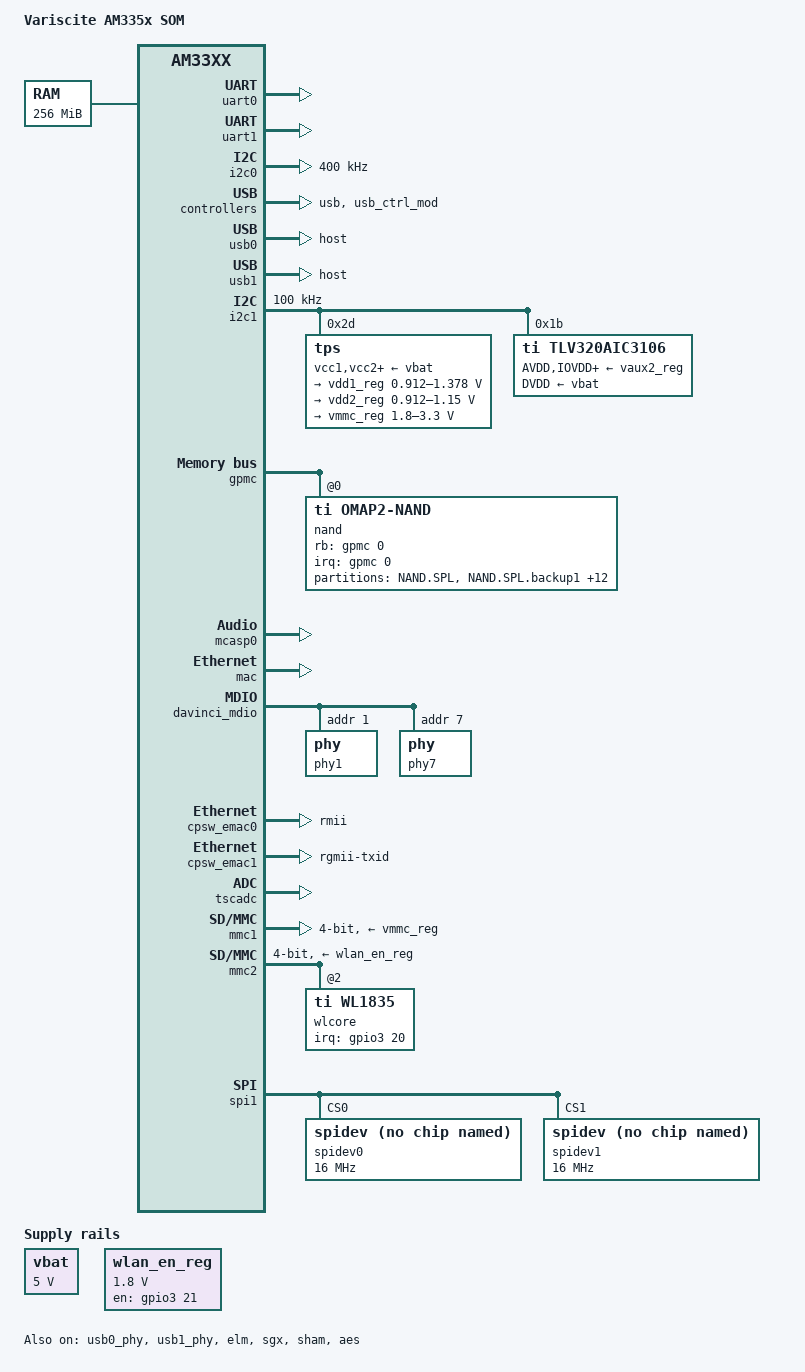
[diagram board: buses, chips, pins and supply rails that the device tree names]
/*
 * Copyright (C) 2014 Variscite LTD - http://www.variscite.com/
 *
 * This program is free software; you can redistribute it and/or modify
 * it under the terms of the GNU General Public License version 2 as
 * published by the Free Software Foundation.
 */
/dts-v1/;

#include "am33xx.dtsi"
#include <dt-bindings/interrupt-controller/irq.h>

/ {
	model = "Variscite AM335x SOM";
	compatible = "ti,var-som-am33", "ti,am33xx";

	cpus {
		cpu@0 {
			cpu0-supply = <&vdd1_reg>;
		};
	};

	memory {
		device_type = "memory";
		reg = <0x80000000 0x10000000>; /* 256 MB */
	};
	
	vbat: fixedregulator@0 {
		compatible = "regulator-fixed";
		regulator-name = "vbat";
		regulator-min-microvolt = <5000000>;
		regulator-max-microvolt = <5000000>;
		regulator-boot-on;
	};

	wlan_en_reg: fixedregulator@1 {
		compatible = "regulator-fixed";
		regulator-name = "wlan-en-regulator";
		regulator-min-microvolt = <1800000>;
		regulator-max-microvolt = <1800000>;
		gpio = <&gpio3 21 GPIO_ACTIVE_HIGH>;
		enable-active-high;
	};

#if 0
	vmmc_fixed: fixedregulator@2 {
		compatible = "regulator-fixed";
		regulator-name = "vmmc_fixed";
		regulator-min-microvolt = <3300000>;
		regulator-max-microvolt = <3300000>;
		regulator-always-on;
		regulator-boot-on;
	};

	gpio_buttons: gpio_buttons@0 {
		compatible = "gpio-keys";
		#address-cells = <1>;
		#size-cells = <0>;

		switch@1 {
			label = "button0";
			linux,code = <0x100>;
			gpios = <&gpio3 4 GPIO_ACTIVE_LOW>;
			gpio-key,wakeup;
		};
	};

	backlight {
		compatible = "pwm-backlight";
		pwms = <&ehrpwm0 0 50000 0>;
		brightness-levels = <0 58 61 66 75 90 125 170 255>;
		default-brightness-level = <8>;
	};
#endif
	
	sound {
		compatible = "simple-audio-card";
		simple-audio-card,name = "VAR-SOM-AM33";
		simple-audio-card,widgets =
			"Headphone", "Headphone Jack",
			"Line", "Line In";
		simple-audio-card,routing =
			"Headphone Jack",	"HPLOUT",
			"Headphone Jack",	"HPROUT",
			"LINE1L",		"Line In",
			"LINE1R",		"Line In";
		simple-audio-card,format = "dsp_b";
		simple-audio-card,bitclock-master = <&sound_master>;
		simple-audio-card,frame-master = <&sound_master>;
		simple-audio-card,bitclock-inversion;

		simple-audio-card,cpu {
			sound-dai = <&mcasp0>;
		};

		sound_master: simple-audio-card,codec {
			sound-dai = <&tlv320aic3106>;
			system-clock-frequency = <24000000>;
		};
	};

#if 0
	panel {
		compatible = "ti,tilcdc,panel";
		status = "okay";
		pinctrl-names = "default";
		pinctrl-0 = <&lcd_pins>;
		panel-info {
			ac-bias           = <255>;
			ac-bias-intrpt    = <0>;
			dma-burst-sz      = <16>;
			bpp               = <32>;
			fdd               = <0x80>;
			sync-edge         = <0>;
			sync-ctrl         = <1>;
			raster-order      = <0>;
			fifo-th           = <0>;
		};

		display-timings {
			800x480p62 {
				clock-frequency = <30000000>;
				hactive = <800>;
				vactive = <480>;
				hfront-porch = <39>;
				hback-porch = <39>;
				hsync-len = <47>;
				vback-porch = <29>;
				vfront-porch = <13>;
				vsync-len = <2>;
				hsync-active = <1>;
				vsync-active = <1>;
			};
		};
	};

	kim {
		compatible = "kim";
 		nshutdown_gpio = <105>; /* Bank3, pin9 */
 		dev_name = "/dev/ttyS1";
 		flow_cntrl = <1>;
 		baud_rate = <3000000>;
 	};
 	
 	btwilink {
		compatible = "btwilink";
	};
#endif
};
	
&am33xx_pinmux {
		pinctrl-names = "default";
		pinctrl-0 = <&clkout1_pin &gpio0_pins &gpio1_pins &gpio2_pins &gpio3_pins>;

		i2c0_pins: pinmux_i2c0_pins {
			pinctrl-single,pins = <
				0x188 (PIN_INPUT_PULLUP | MUX_MODE0)	/* i2c0_sda.i2c0_sda */
				0x18c (PIN_INPUT_PULLUP | MUX_MODE0)	/* i2c0_scl.i2c0_scl */
			>;
		};

		i2c1_pins: pinmux_i2c1_pins {
			pinctrl-single,pins = <
				0x158 (PIN_INPUT_PULLUP | MUX_MODE2)	/* spi0_d1.i2c1_sda */
				0x15c (PIN_INPUT_PULLUP | MUX_MODE2)	/* spi0_cs0.i2c1_scl */
			>;
		};

		uart0_pins_default: pinmux_uart0_pins_default {
			pinctrl-single,pins = <
				0x170 (PIN_INPUT_PULLUP | MUX_MODE0)	/* uart0_rxd.uart0_rxd */
				0x174 (PIN_OUTPUT_PULLDOWN | MUX_MODE0)	/* uart0_txd.uart0_txd */
			>;
		};

		uart1_pins_default: pinmux_uart1_pins_default {
			pinctrl-single,pins = <
				0x178 (PIN_INPUT | MUX_MODE0)		/* uart1_ctsn.uart1_ctsn */
				0x17C (PIN_OUTPUT_PULLDOWN | MUX_MODE0)	/* uart1_rtsn.uart1_rtsn */
				0x180 (PIN_INPUT_PULLUP | MUX_MODE0)	/* uart1_rxd.uart1_rxd */
				0x184 (PIN_OUTPUT | MUX_MODE0)		/* uart1_txd.uart1_txd */
			>;
		};

		clkout1_pin: pinmux_clkout1_pin {
			pinctrl-single,pins = <
				0x1b0 (PIN_OUTPUT_PULLDOWN | MUX_MODE3)	/* xdma_event_intr0.clkout1 */
			>;
		};

		nandflash_pins_default: nandflash_pins_default {
			pinctrl-single,pins = <
				0x0 (PIN_INPUT_PULLUP | MUX_MODE0)	/* gpmc_ad0.gpmc_ad0 */
				0x4 (PIN_INPUT_PULLUP | MUX_MODE0)	/* gpmc_ad1.gpmc_ad1 */
				0x8 (PIN_INPUT_PULLUP | MUX_MODE0)	/* gpmc_ad2.gpmc_ad2 */
				0xc (PIN_INPUT_PULLUP | MUX_MODE0)	/* gpmc_ad3.gpmc_ad3 */
				0x10 (PIN_INPUT_PULLUP | MUX_MODE0)	/* gpmc_ad4.gpmc_ad4 */
				0x14 (PIN_INPUT_PULLUP | MUX_MODE0)	/* gpmc_ad5.gpmc_ad5 */
				0x18 (PIN_INPUT_PULLUP | MUX_MODE0)	/* gpmc_ad6.gpmc_ad6 */
				0x1c (PIN_INPUT_PULLUP | MUX_MODE0)	/* gpmc_ad7.gpmc_ad7 */
				0x70 (PIN_INPUT_PULLUP | MUX_MODE0)	/* gpmc_wait0.gpmc_wait0 */
				0x74 (PIN_INPUT_PULLUP | MUX_MODE7)	/* gpmc_wpn.gpio0_30 */
				0x7c (PIN_OUTPUT | MUX_MODE0)		/* gpmc_csn0.gpmc_csn0  */
				0x90 (PIN_OUTPUT | MUX_MODE0)		/* gpmc_advn_ale.gpmc_advn_ale */
				0x94 (PIN_OUTPUT | MUX_MODE0)		/* gpmc_oen_ren.gpmc_oen_ren */
				0x98 (PIN_OUTPUT | MUX_MODE0)		/* gpmc_wen.gpmc_wen */
				0x9c (PIN_OUTPUT | MUX_MODE0)		/* gpmc_ben0_cle.gpmc_ben0_cle */

			>;
		};

		nandflash_pins_sleep: nandflash_pins_sleep {
			pinctrl-single,pins = <
				0x0 (PIN_INPUT_PULLDOWN | MUX_MODE7)
				0x4 (PIN_INPUT_PULLDOWN | MUX_MODE7)
				0x8 (PIN_INPUT_PULLDOWN | MUX_MODE7)
				0xc (PIN_INPUT_PULLDOWN | MUX_MODE7)
				0x10 (PIN_INPUT_PULLDOWN | MUX_MODE7)
				0x14 (PIN_INPUT_PULLDOWN | MUX_MODE7)
				0x18 (PIN_INPUT_PULLDOWN | MUX_MODE7)
				0x1c (PIN_INPUT_PULLDOWN | MUX_MODE7)
				0x70 (PIN_INPUT_PULLDOWN | MUX_MODE7)
				0x74 (PIN_INPUT_PULLDOWN | MUX_MODE7)
				0x7c (PIN_INPUT_PULLDOWN | MUX_MODE7)
				0x90 (PIN_INPUT_PULLDOWN | MUX_MODE7)
				0x94 (PIN_INPUT_PULLDOWN | MUX_MODE7)
				0x98 (PIN_INPUT_PULLDOWN | MUX_MODE7)
				0x9c (PIN_INPUT_PULLDOWN | MUX_MODE7)
			>;
		};

		cpsw_default: cpsw_default {
			pinctrl-single,pins = <
				/* Slave 1 */
				0x10c (PIN_INPUT_PULLDOWN | MUX_MODE1)     /* mii1_crs.rmii1_crs_dv */
				0x110 (PIN_INPUT_PULLDOWN | MUX_MODE1)     /* mii1_rxerr.rmii1_rxerr */
				0x114 (PIN_OUTPUT | MUX_MODE1)             /* mii1_txen.rmii1_txen */
				0x124 (PIN_OUTPUT | MUX_MODE1)             /* mii1_txd1.rmii1_txd1 */
				0x128 (PIN_OUTPUT | MUX_MODE1)             /* mii1_txd0.rmii1_txd0 */
				0x13c (PIN_INPUT_PULLDOWN | MUX_MODE1)     /* mii1_rxd1.rmii1_rxd1 */
				0x140 (PIN_INPUT_PULLDOWN | MUX_MODE1)     /* mii1_rxd0.rmii1_rxd0 */
				0x144 (PIN_INPUT_PULLDOWN | MUX_MODE0)     /* rmii1_refclk.rmii1_refclk */
				0x138 (PIN_INPUT_PULLUP | MUX_MODE7)       /* mii1_rxd2.gpio2_19 */

#if 0 
				/* Slave 2 */
				0x40 (PIN_OUTPUT | MUX_MODE2)	           /* gpmc_a0.rgmii2_tctl */
				0x44 (PIN_INPUT_PULLDOWN | MUX_MODE2)	   /* gpmc_a1.rgmii2_rctl */
				0x48 (PIN_OUTPUT | MUX_MODE2)	           /* gpmc_a2.rgmii2_td3 */
				0x4c (PIN_OUTPUT | MUX_MODE2)              /* gpmc_a3.rgmii2_td2 */
				0x50 (PIN_OUTPUT | MUX_MODE2)              /* gpmc_a4.rgmii2_td1 */
				0x54 (PIN_OUTPUT | MUX_MODE2)              /* gpmc_a5.rgmii2_td0 */
				0x58 (PIN_OUTPUT | MUX_MODE2)              /* gpmc_a6.rgmii2_tclk */
				0x5c (PIN_INPUT_PULLDOWN | MUX_MODE2)      /* gpmc_a7.rgmii2_rclk */
				0x60 (PIN_INPUT_PULLDOWN | MUX_MODE2)      /* gpmc_a8.rgmii2_rd3 */
				0x64 (PIN_INPUT_PULLDOWN | MUX_MODE2)      /* gpmc_a9.rgmii2_rd2 */
				0x68 (PIN_INPUT_PULLDOWN | MUX_MODE2)      /* gpmc_a10.rgmii2_rd1 */
				0x6c (PIN_INPUT_PULLDOWN | MUX_MODE2)      /* gpmc_a11.rgmii2_rd0 */
				0x108 (PIN_INPUT_PULLDOWN | MUX_MODE1)     /* mii1_col.rmii2_refclk */
				0x130 (PIN_INPUT_PULLUP | MUX_MODE7)       /* mii1_rxclk.gpio3_10 */
#endif
			>;
		};

		cpsw_sleep: cpsw_sleep {
			pinctrl-single,pins = <
				/* Slave 1 reset value */
				0x10c (PIN_INPUT_PULLDOWN | MUX_MODE7)
				0x110 (PIN_INPUT_PULLDOWN | MUX_MODE7)
				0x114 (PIN_INPUT_PULLDOWN | MUX_MODE7)
				0x124 (PIN_INPUT_PULLDOWN | MUX_MODE7)
				0x128 (PIN_INPUT_PULLDOWN | MUX_MODE7)
				0x13c (PIN_INPUT_PULLDOWN | MUX_MODE7)
				0x140 (PIN_INPUT_PULLDOWN | MUX_MODE7)
				0x144 (PIN_INPUT_PULLDOWN | MUX_MODE7)
				0x138 (PIN_INPUT_PULLUP | MUX_MODE7)       /* mii1_rxd2.gpio2_19 */

#if 0 
				/* Slave 2 reset value */
				0x40 (PIN_INPUT_PULLDOWN | MUX_MODE7) 
				0x44 (PIN_INPUT_PULLDOWN | MUX_MODE7)
				0x48 (PIN_INPUT_PULLDOWN | MUX_MODE7)
				0x4c (PIN_INPUT_PULLDOWN | MUX_MODE7)
				0x50 (PIN_INPUT_PULLDOWN | MUX_MODE7)
				0x54 (PIN_INPUT_PULLDOWN | MUX_MODE7)
				0x58 (PIN_INPUT_PULLDOWN | MUX_MODE7)
				0x5c (PIN_INPUT_PULLDOWN | MUX_MODE7)
				0x60 (PIN_INPUT_PULLDOWN | MUX_MODE7)
				0x64 (PIN_INPUT_PULLDOWN | MUX_MODE7)
				0x68 (PIN_INPUT_PULLDOWN | MUX_MODE7)
				0x6c (PIN_INPUT_PULLDOWN | MUX_MODE7)
#endif
			>;
		};

		davinci_mdio_default: davinci_mdio_default {
			pinctrl-single,pins = <
				/* MDIO */
				0x148 (PIN_INPUT_PULLUP | SLEWCTRL_FAST | MUX_MODE0)	/* mdio_data.mdio_data */
				0x14c (PIN_OUTPUT_PULLUP | MUX_MODE0)			/* mdio_clk.mdio_clk */
			>;
		};

		davinci_mdio_sleep: davinci_mdio_sleep {
			pinctrl-single,pins = <
				/* MDIO reset value */
				0x148 (PIN_INPUT_PULLDOWN | MUX_MODE7)
				0x14c (PIN_INPUT_PULLDOWN | MUX_MODE7)
			>;
		};

		mmc1_pins_default: pinmux_mmc1_pins {
			pinctrl-single,pins = <
				0x0F0 (PIN_INPUT_PULLUP | MUX_MODE0)	/* mmc0_dat3.mmc0_dat3 */
				0x0F4 (PIN_INPUT_PULLUP | MUX_MODE0)	/* mmc0_dat2.mmc0_dat2 */
				0x0F8 (PIN_INPUT_PULLUP | MUX_MODE0)	/* mmc0_dat1.mmc0_dat1 */
				0x0FC (PIN_INPUT_PULLUP | MUX_MODE0)	/* mmc0_dat0.mmc0_dat0 */
				0x100 (PIN_INPUT_PULLUP | MUX_MODE0)	/* mmc0_clk.mmc0_clk */
				0x104 (PIN_INPUT_PULLUP | MUX_MODE0)	/* mmc0_cmd.mmc0_cmd */
			>;
		};

		mmc1_pins_sleep: pinmux_mmc1_pins_sleep {
			pinctrl-single,pins = <
				0x0F0 (PIN_INPUT_PULLDOWN | MUX_MODE7)
				0x0F4 (PIN_INPUT_PULLDOWN | MUX_MODE7)
				0x0F8 (PIN_INPUT_PULLDOWN | MUX_MODE7)
				0x0FC (PIN_INPUT_PULLDOWN | MUX_MODE7)
				0x100 (PIN_INPUT_PULLDOWN | MUX_MODE7)
				0x104 (PIN_INPUT_PULLDOWN | MUX_MODE7)
			>;
		};


#if 0 
		lcd_pins_default: lcd_pins_default {
			pinctrl-single,pins = <
				0xa0 0x00	/* lcd_data0.lcd_data0, OUTPUT | MODE0 */
				0xa4 0x00	/* lcd_data1.lcd_data1, OUTPUT | MODE0 */
				0xa8 0x00	/* lcd_data2.lcd_data2, OUTPUT | MODE0 */
				0xac 0x00	/* lcd_data3.lcd_data3, OUTPUT | MODE0 */
				0xb0 0x00	/* lcd_data4.lcd_data4, OUTPUT | MODE0 */
				0xb4 0x00	/* lcd_data5.lcd_data5, OUTPUT | MODE0 */
				0xb8 0x00	/* lcd_data6.lcd_data6, OUTPUT | MODE0 */
				0xbc 0x00	/* lcd_data7.lcd_data7, OUTPUT | MODE0 */
				0xc0 0x00	/* lcd_data8.lcd_data8, OUTPUT | MODE0 */
				0xc4 0x00	/* lcd_data9.lcd_data9, OUTPUT | MODE0 */
				0xc8 0x00	/* lcd_data10.lcd_data10, OUTPUT | MODE0 */
				0xcc 0x00	/* lcd_data11.lcd_data11, OUTPUT | MODE0 */
				0xd0 0x00	/* lcd_data12.lcd_data12, OUTPUT | MODE0 */
				0xd4 0x00	/* lcd_data13.lcd_data13, OUTPUT | MODE0 */
				0xd8 0x00	/* lcd_data14.lcd_data14, OUTPUT | MODE0 */
				0xdc 0x00	/* lcd_data15.lcd_data15, OUTPUT | MODE0 */
				0xe0 0x00	/* lcd_vsync.lcd_vsync, OUTPUT | MODE0 */
				0xe4 0x00	/* lcd_hsync.lcd_hsync, OUTPUT | MODE0 */
				0xe8 0x00	/* lcd_pclk.lcd_pclk, OUTPUT | MODE0 */
				0xec 0x00	/* lcd_ac_bias_en.lcd_ac_bias_en, OUTPUT | MODE0 */
			>;
		};

		lcd_pins_sleep: lcd_pins_sleep {
			pinctrl-single,pins = <
				0xa0 (PULL_DISABLE | MUX_MODE7)		/* lcd_data0.lcd_data0 */
				0xa4 (PULL_DISABLE | MUX_MODE7)		/* lcd_data1.lcd_data1 */
				0xa8 (PULL_DISABLE | MUX_MODE7)		/* lcd_data2.lcd_data2 */
				0xac (PULL_DISABLE | MUX_MODE7)		/* lcd_data3.lcd_data3 */
				0xb0 (PULL_DISABLE | MUX_MODE7)		/* lcd_data4.lcd_data4 */
				0xb4 (PULL_DISABLE | MUX_MODE7)		/* lcd_data5.lcd_data5 */
				0xb8 (PULL_DISABLE | MUX_MODE7)		/* lcd_data6.lcd_data6 */
				0xbc (PULL_DISABLE | MUX_MODE7)		/* lcd_data7.lcd_data7 */
				0xc0 (PULL_DISABLE | MUX_MODE7)		/* lcd_data8.lcd_data8 */
				0xc4 (PULL_DISABLE | MUX_MODE7)		/* lcd_data9.lcd_data9 */
				0xc8 (PULL_DISABLE | MUX_MODE7)		/* lcd_data10.lcd_data10 */
				0xcc (PULL_DISABLE | MUX_MODE7)		/* lcd_data11.lcd_data11 */
				0xd0 (PULL_DISABLE | MUX_MODE7)		/* lcd_data12.lcd_data12 */
				0xd4 (PULL_DISABLE | MUX_MODE7)		/* lcd_data13.lcd_data13 */
				0xd8 (PULL_DISABLE | MUX_MODE7)		/* lcd_data14.lcd_data14 */
				0xdc (PULL_DISABLE | MUX_MODE7)		/* lcd_data15.lcd_data15 */
				0xe0 (PIN_INPUT_PULLDOWN | MUX_MODE7)	/* lcd_vsync.lcd_vsync, OUTPUT | MODE0 */
				0xe4 (PIN_INPUT_PULLDOWN | MUX_MODE7)	/* lcd_hsync.lcd_hsync */
				0xe8 (PIN_INPUT_PULLDOWN | MUX_MODE7)	/* lcd_pclk.lcd_pclk */
				0xec (PIN_INPUT_PULLDOWN | MUX_MODE7)	/* lcd_ac_bias_en.lcd_ac_bias_en */
			>;
		};
#endif

		mcasp0_pins: mcasp0_pins {
			pinctrl-single,pins = <
				0x190 (PIN_INPUT_PULLDOWN | MUX_MODE0)  /* mcasp0_aclkx.mcasp0_aclkx */
				0x194 (PIN_INPUT_PULLDOWN | MUX_MODE0)  /* mcasp0_fsx.mcasp0_fsx */
				0x1A0 (PIN_INPUT_PULLDOWN | MUX_MODE2)  /* mcasp0_aclkr.mcasp0_axr2 */
				0x1A4 (PIN_INPUT_PULLDOWN | MUX_MODE2)  /* mcasp0_fsr.mcasp0_axr3 */
			>;
		};

		mcasp0_sleep_pins: mcasp0_sleep_pins {
			pinctrl-single,pins = <
				0x190 (PIN_INPUT_PULLDOWN | MUX_MODE7)
				0x194 (PIN_INPUT_PULLDOWN | MUX_MODE7)
				0x1A0 (PIN_INPUT_PULLDOWN | MUX_MODE7)
				0x1A4 (PIN_INPUT_PULLDOWN | MUX_MODE7)
			>;
		};

		/* wl12xx/wl18xx card on mmc2 */
		mmc2_pins_default: pinmux_mmc2_pins_default {
			pinctrl-single,pins = <
				0x20 (PIN_INPUT_PULLUP | MUX_MODE2)	/* gpmc_ad8.mmc1_dat0 */
				0x24 (PIN_INPUT_PULLUP | MUX_MODE2)	/* gpmc_ad9.mmc1_dat1 */
				0x28 (PIN_INPUT_PULLUP | MUX_MODE2)	/* gpmc_ad10.mmc1_dat2 */
				0x2c (PIN_INPUT_PULLUP | MUX_MODE2)	/* gpmc_ad11.mmc1_dat3 */
				0x84 (PIN_INPUT_PULLUP | MUX_MODE2)	/* gpmc_csn2.mmc1_cmd */
				0x80 (PIN_INPUT_PULLUP | MUX_MODE2)	/* gpmc_csn1.mmc1_clk */
			>;
		};

		/* wl12xx/wl18xx card on mmc2 */
		mmc2_pins_sleep: pinmux_mmc2_pins_sleep {
			pinctrl-single,pins = <
				0x20 (PIN_INPUT_PULLUP | MUX_MODE7)	/* gpmc_ad8.mmc1_dat0 */
				0x24 (PIN_INPUT_PULLUP | MUX_MODE7)	/* gpmc_ad9.mmc1_dat1 */
				0x28 (PIN_INPUT_PULLUP | MUX_MODE7)	/* gpmc_ad10.mmc1_dat2 */
				0x2c (PIN_INPUT_PULLUP | MUX_MODE7)	/* gpmc_ad11.mmc1_dat3 */
				0x84 (PIN_INPUT_PULLUP | MUX_MODE7)	/* gpmc_csn2.mmc1_cmd */
				0x80 (PIN_INPUT_PULLUP | MUX_MODE7)	/* gpmc_csn1.mmc1_clk */
			>;
		};

		/* wl12xx/wl18xx card enable/irq GPIOs. */
		wlan_pins_default: pinmux_wlan_pins_default {
			pinctrl-single,pins = <
				0x1AC (PIN_OUTPUT_PULLUP | MUX_MODE7)	/* mcasp0_ahclkx.gpio3_21, WL_EN */
				0x1A8 (PIN_INPUT_PULLUP  | MUX_MODE7)	/* mcasp0_axr1.gpio3_20, WL_IRQ */
				0x12C (PIN_OUTPUT_PULLDOWN | MUX_MODE7)	/* mii1_txclk.gpio3_9, BT_EN */
			>;
		};

		wlan_pins_sleep: pinmux_wlan_pins_sleep {
			pinctrl-single,pins = <
				0x1AC (PIN_OUTPUT_PULLUP | MUX_MODE7)   /* mcasp0_ahclkx.gpio3_21, WL_EN */
				0x1A8 (PIN_INPUT_PULLUP  | MUX_MODE7)   /* mcasp0_axr1.gpio3_20, WL_IRQ */
				0x12C (PIN_OUTPUT_PULLUP | MUX_MODE7)   /* mii1_txclk.gpio3_9, BT_EN */
			>;
		};

#if 0
		/* ft5x06 irq GPIO. */
		edt_ft5x06_pins: pinmux_edt_ft5x06_pins {
			pinctrl-single,pins = <
				0x154 0x27	/* spi0_d0.gpio0_3, INPUT | MODE7 */
			>;
		};

		dcan0_default: dcan0_default_pins {
			pinctrl-single,pins = <
				0x11c (PIN_OUTPUT_PULLDOWN | MUX_MODE1)	 /* AM33XX_CONTROL_PADCONF_MII1_TXD3_OFFSET			0x091C */
				0x120 (PIN_INPUT_PULLUP | MUX_MODE1)     /* AM33XX_CONTROL_PADCONF_MII1_TXD2_OFFSET			0x0920 */
			>;
		};
#endif

		gpio0_pins: gpio0_pins_default {
			pinctrl-single,pins = <
				0x160 ( PIN_INPUT | MUX_MODE7 ) /* (C15) spi0_cs1.gpio0[6] */
				0x164 ( PIN_INPUT | MUX_MODE7 ) /* (C18) eCAP0_in_PWM0_out.gpio0[7] */
				0xd0  ( PIN_INPUT | MUX_MODE7 ) /* (V2) lcd_data12.gpio0[8] */
				0xd4  ( PIN_INPUT | MUX_MODE7 ) /* (V3) lcd_data13.gpio0[9] */
				0xd8  ( PIN_INPUT | MUX_MODE7 ) /* (V4) lcd_data14.gpio0[10] */
				0xdc  ( PIN_INPUT | MUX_MODE7 ) /* (T5) lcd_data15.gpio0[11] */
				0x11c ( PIN_INPUT | MUX_MODE7 ) /* (J18) gmii1_txd3.gpio0[16] */
				0x120 ( PIN_INPUT | MUX_MODE7 ) /* (K15) gmii1_txd2.gpio0[17] */
			>;
		};

		gpio1_pins: gpio1_pins_default {
			pinctrl-single,pins = <
				0x30 ( PIN_INPUT | MUX_MODE7 ) /* (T12) gpmc_ad12.gpio1[12] */
				0x34 ( PIN_INPUT | MUX_MODE7 ) /* (R12) gpmc_ad13.gpio1[13] */
				0x38 ( PIN_INPUT | MUX_MODE7 ) /* (V13) gpmc_ad14.gpio1[14] */
				0x3c ( PIN_INPUT | MUX_MODE7 ) /* (U13) gpmc_ad15.gpio1[15] */
				0x40 ( PIN_INPUT | MUX_MODE7 ) /* (R13) gpmc_a0.gpio1[16] */
				0x44 ( PIN_INPUT | MUX_MODE7 ) /* (V14) gpmc_a1.gpio1[17] */
				0x48 ( PIN_INPUT | MUX_MODE7 ) /* (U14) gpmc_a2.gpio1[18] */
				0x4c ( PIN_INPUT | MUX_MODE7 ) /* (T14) gpmc_a3.gpio1[19] */
				0x50 ( PIN_INPUT | MUX_MODE7 ) /* (R14) gpmc_a4.gpio1[20] */
				0x54 ( PIN_INPUT | MUX_MODE7 ) /* (V15) gpmc_a5.gpio1[21] */
				0x58 ( PIN_INPUT | MUX_MODE7 ) /* (U15) gpmc_a6.gpio1[22] */
				0x5c ( PIN_INPUT | MUX_MODE7 ) /* (T15) gpmc_a7.gpio1[23] */
				0x60 ( PIN_INPUT | MUX_MODE7 ) /* (V16) gpmc_a8.gpio1[24] */
				0x64 ( PIN_INPUT | MUX_MODE7 ) /* (U16) gpmc_a9.gpio1[25] */
				0x68 ( PIN_INPUT | MUX_MODE7 ) /* (T16) gpmc_a10.gpio1[26] */
				0x6c ( PIN_INPUT | MUX_MODE7 ) /* (V17) gpmc_a11.gpio1[27] */
				0x78 ( PIN_INPUT | MUX_MODE7 ) /* (U18) gpmc_be1n.gpio1[28] */
			>;
		};

		gpio2_pins: gpio2_pins_default {
			pinctrl-single,pins = <
				0x88 ( PIN_INPUT | MUX_MODE7 ) /* (T13) gpmc_csn3.gpio2[0] */
				0x8c ( PIN_INPUT | MUX_MODE7 ) /* (V12) gpmc_clk.gpio2[1] */
				0xa0 ( PIN_INPUT | MUX_MODE7 ) /* (R1) lcd_data0.gpio2[6] */
				0xa4 ( PIN_INPUT | MUX_MODE7 ) /* (R2) lcd_data1.gpio2[7] */
				0xa8 ( PIN_INPUT | MUX_MODE7 ) /* (R3) lcd_data2.gpio2[8] */
				0xac ( PIN_INPUT | MUX_MODE7 ) /* (R4) lcd_data3.gpio2[9] */
				0xb0 ( PIN_INPUT | MUX_MODE7 ) /* (T1) lcd_data4.gpio2[10] */
				0xb4 ( PIN_INPUT | MUX_MODE7 ) /* (T2) lcd_data5.gpio2[11] */
				0xb8 ( PIN_INPUT | MUX_MODE7 ) /* (T3) lcd_data6.gpio2[12] */
				0xbc ( PIN_INPUT | MUX_MODE7 ) /* (T4) lcd_data7.gpio2[13] */
				0xc0 ( PIN_INPUT | MUX_MODE7 ) /* (U1) lcd_data8.gpio2[14] */
				0xc4 ( PIN_INPUT | MUX_MODE7 ) /* (U2) lcd_data9.gpio2[15] */
				0xc8 ( PIN_INPUT | MUX_MODE7 ) /* (U3) lcd_data10.gpio2[16] */
				0xcc ( PIN_INPUT | MUX_MODE7 ) /* (U4) lcd_data11.gpio2[17] */
				0x134 ( PIN_INPUT | MUX_MODE7 ) /* (L17) gmii1_rxd3.gpio2[18] */
				0xe0 ( PIN_INPUT | MUX_MODE7 ) /* (U5) lcd_vsync.gpio2[22] */
				0xe4 ( PIN_INPUT | MUX_MODE7 ) /* (R5) lcd_hsync.gpio2[23] */
				0xe8 ( PIN_INPUT | MUX_MODE7 ) /* (V5) lcd_pclk.gpio2[24] */
				0xec ( PIN_INPUT | MUX_MODE7 ) /* (R6) lcd_ac_bias_en.gpio2[25] */
			>;
		};

		gpio3_pins: gpio3_pins_default {
			pinctrl-single,pins = <
				0x1e4 ( PIN_INPUT | MUX_MODE7 ) /* (C14) EMU0.gpio3[7] */
				0x1e8 ( PIN_INPUT | MUX_MODE7 ) /* (B14) EMU1.gpio3[8] */
			>;
		};
};

&uart0 {
	pinctrl-names = "default";
	pinctrl-0 = <&uart0_pins_default>;

	status = "okay";
};

&uart1 {
	pinctrl-names = "default";
	pinctrl-0 = <&uart1_pins_default>;

	status = "okay";
};

&i2c0 {
	pinctrl-names = "default";
	pinctrl-0 = <&i2c0_pins>;

	status = "okay";
	clock-frequency = <400000>;
	/* Set OPP50 (0.95V) for VDD core */
	sleep-sequence = /bits/ 8 <
		0x02 0x2d 0x25 0x1f /* Set VDD2 to 0.95V */
	>;

	/* Set OPP100 (1.10V) for VDD core */
	wake-sequence = /bits/ 8 <
		0x02 0x2d 0x25 0x2b /* Set VDD2 to 1.1V */
	>;
};

&usb {
	status = "okay";
};

&usb_ctrl_mod {
	status = "okay";
};

&usb0_phy {
	status = "okay";
};

&usb1_phy {
	status = "okay";
};

&usb0 {
	status = "okay";
	dr_mode = "host";
};

&usb1 {
	status = "okay";
	dr_mode = "host";
};

&cppi41dma  {
	status = "okay";
};

&i2c1 {
	pinctrl-names = "default";
	pinctrl-0 = <&i2c1_pins>;

	status = "okay";
	clock-frequency = <100000>;

	tps: tps@2d {
		reg = <0x2d>;
	};

	tlv320aic3106: tlv320aic3106@1b {
		#sound-dai-cells = <0>;
		compatible = "ti,tlv320aic3106";
		reg = <0x1b>;
		status = "okay";

		/* Regulators */
		AVDD-supply = <&vaux2_reg>;
		IOVDD-supply = <&vaux2_reg>;
		DRVDD-supply = <&vaux2_reg>;
		DVDD-supply = <&vbat>;
	};
#if 0
	edt_ft5x06_ts@38 {
		status = "okay";
		compatible = "edt,edt-ft5206";
		pinctrl-names = "default";
		pinctrl-0 = <&edt_ft5x06_pins>;
		reg = <0x38>;
		interrupt-parent = <&gpio0>;
		interrupts = <3 IRQ_TYPE_NONE>;
	};
#endif
};

&elm {
	status = "okay";
};

#if 0
&epwmss0 {
	status = "okay";

	ehrpwm0: pwm@48300200 {
		status = "okay";
		pinctrl-names = "default";
		pinctrl-0 = <&ehrpwm_pins>;
	};
};
#endif

&gpmc {
	status = "okay";
	pinctrl-names = "default", "sleep";
	pinctrl-0 = <&nandflash_pins_default>;
	pinctrl-1 = <&nandflash_pins_sleep>;
	ranges = <0 0 0x08000000 0x10000000>;	/* CS0: NAND */
	nand@0,0 {
		compatible = "ti,omap2-nand";
		reg = <0 0 4>; /* CS0, offset 0, IO size 4 */
		interrupt-parent = <&gpmc>;
		interrupts = <0 IRQ_TYPE_NONE>, /* fifoevent */
			     <1 IRQ_TYPE_NONE>;	/* termcount */
		rb-gpios = <&gpmc 0 GPIO_ACTIVE_HIGH>; /* gpmc_wait0 */
		ti,nand-ecc-opt= "bch8";
		ti,elm-id = <&elm>;
		nand-bus-width = <8>;
		gpmc,device-width = <1>;
		gpmc,sync-clk-ps = <0>;
		gpmc,cs-on-ns = <0>;
		gpmc,cs-rd-off-ns = <44>;
		gpmc,cs-wr-off-ns = <44>;
		gpmc,adv-on-ns = <6>;
		gpmc,adv-rd-off-ns = <34>;
		gpmc,adv-wr-off-ns = <44>;
		gpmc,we-on-ns = <0>;
		gpmc,we-off-ns = <40>;
		gpmc,oe-on-ns = <0>;
		gpmc,oe-off-ns = <54>;
		gpmc,access-ns = <64>;
		gpmc,rd-cycle-ns = <82>;
		gpmc,wr-cycle-ns = <82>;
		gpmc,wait-on-read = "true";
		gpmc,wait-on-write = "true";
		gpmc,bus-turnaround-ns = <0>;
		gpmc,cycle2cycle-delay-ns = <0>;
		gpmc,clk-activation-ns = <0>;
		gpmc,wait-monitoring-ns = <0>;
		gpmc,wr-access-ns = <40>;
		gpmc,wr-data-mux-bus-ns = <0>;
		/* MTD partition table */
        	/* All SPL-* partitions are sized to minimal length
		 * which can be independently programmable. For
		 * NAND flash this is equal to size of erase-block */
		#address-cells = <1>;
		#size-cells = <1>;
		partition@0 {
			label = "NAND.SPL";
			reg = <0x00000000 0x000020000>;
		};
		partition@1 {
			label = "NAND.SPL.backup1";
			reg = <0x00020000 0x00020000>;
		};
		partition@2 {
			label = "NAND.SPL.backup2";
			reg = <0x00040000 0x00020000>;
		};
		partition@3 {
			label = "NAND.SPL.backup3";
			reg = <0x00060000 0x00020000>;
		};
		partition@4 {
			label = "NAND.u-boot-spl-os";
			reg = <0x00080000 0x00040000>;
		};
		partition@5 {
			label = "NAND.u-boot";
			reg = <0x000C0000 0x00100000>;
		};
		partition@6 {
			label = "NAND.u-boot-env";
			reg = <0x001C0000 0x00020000>;
		};
		partition@7 {
			label = "NAND.u-boot-env.backup1";
			reg = <0x001E0000 0x00020000>;
		};
		partition@8 {
			label = "NAND.kernel";
			reg = <0x00200000 0x00800000>;
		};
		partition@9 {
			label = "NAND.file-system";
			reg = <0x00A00000 0x1f600000>;
		};
		partition@10 {
			label = "Android NAND.u-boot";
			reg = <0x00080000 0x00260000>;
		};
		partition@11 {
			label = "Android NAND.u-boot-env";
			reg = <0x00260000 0x00280000>;
		};
		partition@12 {
			label = "Android Kernel";
			reg = <0x00280000 0x00780000>;
		};
		partition@13 {
			label = "Android File System";
			reg = <0x00780000 0x10000000>;
		};

	};
};

#if 0
&lcdc {
	status = "okay";
};

&dcan0 {
	pinctrl-names = "default";
	pinctrl-0 = <&dcan0_default>;
	status = "okay";
};
#endif

&mcasp0 {
		#sound-dai-cells = <0>;
		pinctrl-names = "default", "sleep";
		pinctrl-0 = <&mcasp0_pins>;
		pinctrl-1 = <&mcasp0_sleep_pins>;

		status = "okay";

		op-mode = <0>;          /* MCASP_IIS_MODE */
		tdm-slots = <2>;
		/* 16 serializer */
		serial-dir = <  /* 0: INACTIVE, 1: TX, 2: RX */
			0 0 2 1
		>;
		tx-num-evt = <32>;
		rx-num-evt = <32>;
};

#include "tps65910.dtsi"

&tps {

	ti,en-ck32k-xtal;

	vcc1-supply = <&vbat>;
	vcc2-supply = <&vbat>;
	vcc3-supply = <&vbat>;
	vcc4-supply = <&vbat>;
	vcc5-supply = <&vbat>;
	vcc6-supply = <&vbat>;
	vcc7-supply = <&vbat>;
	vccio-supply = <&vbat>;

	rtc0 {
		compatible = "ti,tps65910-rtc";
		interrupts = <0>;
	};

	regulators {
		vrtc_reg: regulator@0 {
			regulator-always-on;
		};

		vio_reg: regulator@1 {
			regulator-always-on;
		};

		vdd1_reg: regulator@2 {
			/* VDD_MPU voltage limits 0.95V - 1.325V with +/-4% tolerance */
			regulator-name = "vdd_mpu";
			regulator-min-microvolt = <912500>;
			regulator-max-microvolt = <1378000>;
			regulator-boot-on;
			regulator-always-on;
		};

		vdd2_reg: regulator@3 {
			/* VDD_CORE voltage limits 0.95V - 1.1V with +/-4% tolerance */
			regulator-name = "vdd_core";
			regulator-min-microvolt = <912500>;
			regulator-max-microvolt = <1150000>;
			regulator-boot-on;
			regulator-always-on;
		};

		vdd3_reg: regulator@4 {
			regulator-always-on;
		};

		vdig1_reg: regulator@5 {
			regulator-always-on;
		};

		vdig2_reg: regulator@6 {
			regulator-always-on;
		};

		vpll_reg: regulator@7 {
			regulator-always-on;
		};

		vdac_reg: regulator@8 {
			regulator-always-on;
		};

		vaux1_reg: regulator@9 {
			regulator-always-on;
		};

		vaux2_reg: regulator@10 {
			regulator-always-on;
		};

		vaux33_reg: regulator@11 {
			regulator-always-on;
		};

		vmmc_reg: regulator@12 {
			regulator-min-microvolt = <1800000>;
			regulator-max-microvolt = <3300000>;
			regulator-always-on;
		};
	};
};

&mac {
	pinctrl-names = "default", "sleep";
	pinctrl-0 = <&cpsw_default>;
	pinctrl-1 = <&cpsw_sleep>;
	dual_emac = <1>;
	status = "okay";
};

&davinci_mdio {
	pinctrl-names = "default", "sleep";
	pinctrl-0 = <&davinci_mdio_default>;
	pinctrl-1 = <&davinci_mdio_sleep>;
	status = "okay";
	
	phy1: phy@1 {
		reg = <1>;
		/*micrel,reset-regs;*/
	};

	phy7: phy@7 {
		reg = <7>;
		rxc-skew-ps = <3000>;
		rxdv-skew-ps = <0>;
		txc-skew-ps = <3000>;
		txen-skew-ps = <0>;
		rxd0-skew-ps = <0>;
		rxd1-skew-ps = <0>;
		rxd2-skew-ps = <0>;
		rxd3-skew-ps = <0>;
		txd0-skew-ps = <0>;
		txd1-skew-ps = <0>;
		txd2-skew-ps = <0>;
		txd3-skew-ps = <0>;
	};	
};

&cpsw_emac0 {
	phy_id = <&davinci_mdio>, <1>;
	phy-mode = "rmii";
	dual_emac_res_vlan = <1>;
};

&cpsw_emac1 {
	phy_id = <&davinci_mdio>, <7>;
	phy-mode = "rgmii-txid";
	dual_emac_res_vlan = <2>;
};

&phy_sel {
	rmii-clock-ext;
};

&tscadc {
	status = "okay";
	tsc {
		ti,wires = <4>;
		ti,x-plate-resistance = <180>;
		ti,coordinate-readouts = <5>;
		ti,wire-config = <0x00 0x21 0x12 0x33>;
		ti,charge-delay = <0x700>;
		ti,alt_pins_conf;
	};

	adc {
		ti,adc-channels = <4 5 6 7>;
	};
};

&mmc1 {
	status = "okay";
	vmmc-supply = <&vmmc_reg>;
	bus-width = <4>;
	pinctrl-names = "default", "sleep";
	pinctrl-0 = <&mmc1_pins_default>;
	pinctrl-1 = <&mmc1_pins_sleep>;
#if 0
	cd-gpios = <&gpio1 28 GPIO_ACTIVE_HIGH>;
	wp-gpios = <&gpio2 18 GPIO_ACTIVE_HIGH>;
#endif
};

&mmc2 {
	status = "okay";
	vmmc-supply = <&wlan_en_reg>;
	bus-width = <4>;
	pinctrl-names = "default", "sleep";
	pinctrl-0 = <&mmc2_pins_default &wlan_pins_default>;
	pinctrl-1 = <&mmc2_pins_sleep &wlan_pins_sleep>;
	ti,non-removable;
	ti,needs-special-hs-handling;
	cap-power-off-card;
	keep-power-in-suspend;
	
	#address-cells = <1>;
	#size-cells = <0>;
	
	wlcore: wlcore@2 {
		compatible = "ti,wl1835";
		reg = <2>;
		interrupt-parent = <&gpio3>;
		interrupts = <20 IRQ_TYPE_LEVEL_HIGH>;

                /* For WL12xx card set the clock to WL12XX_REFCLOCK_38_XTAL */
                ref-clock-frequency = <38400000>;
	};	
};

&wkup_m3_ipc {
	ti,scale-data-fw = "am335x-evm-scale-data.bin";
};

&sgx {
	status = "okay";
};

&sham {
	status = "okay";
};

&aes {
	status = "okay";
};

&gpio0 {
	ti,no-reset-on-init;
};

&spi1 {
	status = "okay";

#if 0	
 /* NOTE: In order to use SPI on VAR-SOM-AM33 CustomBoard -
  *	1) Need to remove R9 and R10 resistors from the CustomBoard.
  *	2) Need to also remove U21 from the CustomBoard. 
  */

	pinctrl-names = "default", "sleep";
	pinctrl-0 = <&spi1_pins_default>;
	pinctrl-1 = <&spi1_pins_sleep>;
#endif
	spidev0: spi@0 {
		compatible = "spidev";
		reg = <0>;
		spi-max-frequency = <16000000>;
		spi-cpha;
	};

	spidev1: spi@1 {
		compatible = "spidev";
		reg = <1>;
		spi-max-frequency = <16000000>;
	};
};
